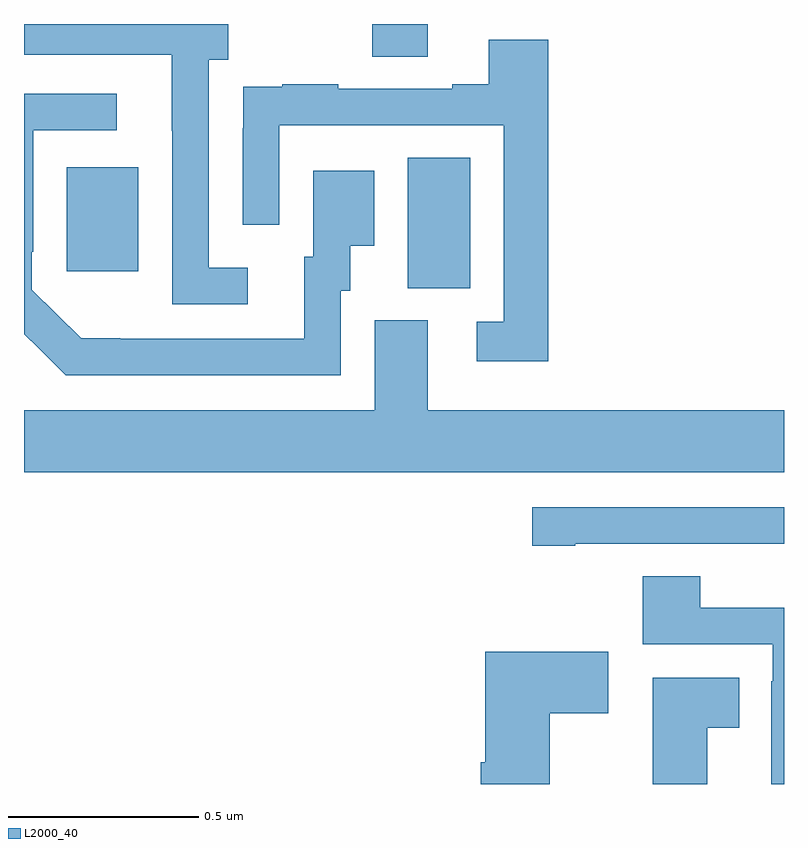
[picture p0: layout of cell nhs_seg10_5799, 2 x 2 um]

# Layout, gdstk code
import gdstk
lib = gdstk.Library(unit=1e-6, precision=1e-09)
def R(c, l, rs):  # rectangles x0, y0, x1, y1
    for r in rs: c.add(gdstk.rectangle(r[:2], r[2:], *l))
def P(c, l, *ps):  # polygons
    for p in ps: c.add(gdstk.Polygon(p, *l))
L2000_40 = (2000, 40)

nhs_seg10_5799 = lib.new_cell('nhs_seg10_5799')
R(nhs_seg10_5799, L2000_40, [(184.01,1296.805,184.174,1297.148), (183.113,1296.849,183.301,1297.123), (183.916,1297.414,184.063,1297.5)])
P(nhs_seg10_5799, L2000_40, [(183.589,1296.858),(183.486,1296.858),(183.486,1297.406),(183.538,1297.406),(183.538,1297.5),(183,1297.5),(183,1297.419),(183.389,1297.419),(183.389,1297.219),(183.39,1297.219),(183.39,1296.762),(183.589,1296.762)],
  [(184.379,1297.459),(184.223,1297.459),(184.223,1297.342),(184.127,1297.342),(184.127,1297.329),(183.827,1297.329),(183.827,1297.342),(183.679,1297.342),(183.679,1297.335),(183.577,1297.335),(183.577,1297.226),(183.576,1297.226),(183.576,1296.972),(183.672,1296.972),(183.672,1297.233),(184.263,1297.233),(184.263,1296.717),(184.191,1296.717),(184.191,1296.612),(184.379,1296.612)],
  [(183.834,1296.798),(183.859,1296.798),(183.859,1296.917),(183.922,1296.917),(183.922,1297.114),(183.761,1297.114),(183.761,1296.888),(183.737,1296.888),(183.737,1296.672),(183.253,1296.672),(183.253,1296.673),(183.15,1296.673),(183.021,1296.801),(183.021,1296.901),(183.024,1296.901),(183.024,1297.221),(183.244,1297.221),(183.244,1297.317),(183,1297.317),(183,1296.684),(183.018,1296.666),(183.019,1296.667),(183.11,1296.576),(183.834,1296.576)],
  [(185,1296.484),(184.063,1296.484),(184.063,1296.72),(183.923,1296.72),(183.923,1296.484),(183,1296.484),(183,1296.32),(185,1296.32)],
  [(184.45,1296.132),(185,1296.132),(185,1296.228),(184.338,1296.228),(184.338,1296.127),(184.45,1296.127)],
  [(185,1295.964),(184.78,1295.964),(184.78,1296.047),(184.628,1296.047),(184.628,1295.868),(184.971,1295.868),(184.971,1295.771),(184.967,1295.771),(184.967,1295.5),(185,1295.5)],
  [(184.384,1295.686),(184.537,1295.686),(184.537,1295.848),(184.214,1295.848),(184.214,1295.557),(184.202,1295.557),(184.202,1295.5),(184.384,1295.5)],
  [(184.798,1295.648),(184.882,1295.648),(184.882,1295.779),(184.655,1295.779),(184.655,1295.5),(184.798,1295.5)])

lib.write_gds('nhs_seg10_5799.gds')
